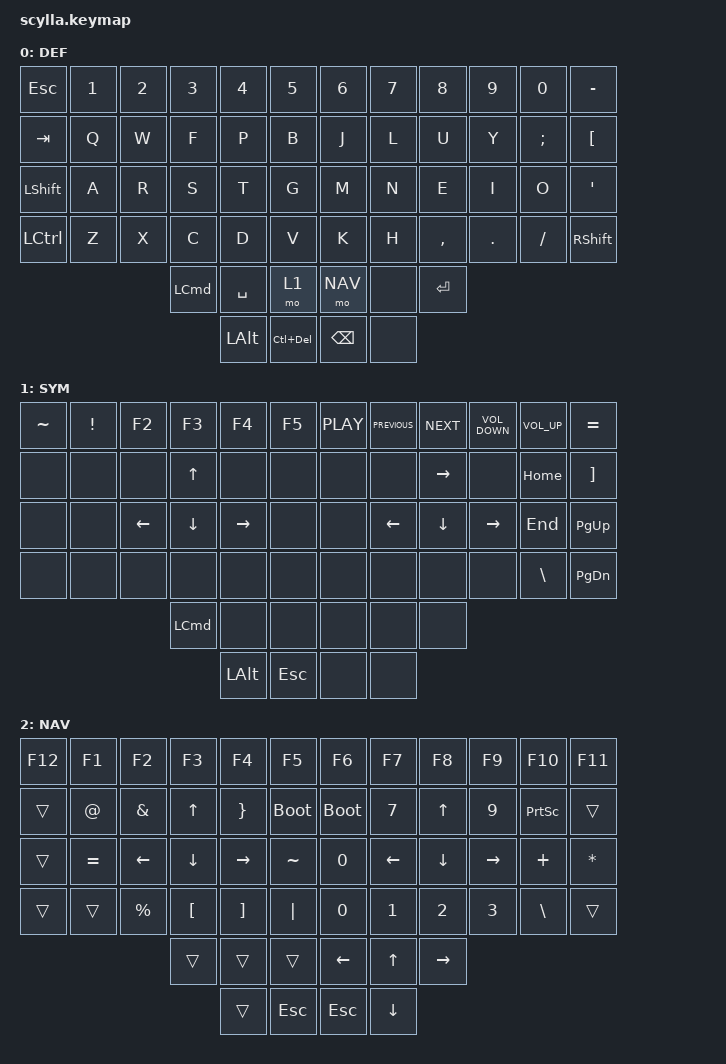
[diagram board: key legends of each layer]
#include <behaviors.dtsi>
#include <dt-bindings/zmk/keys.h>

#define DEF 0
#define SYM 1
#define NAV 2

/ {
    keymap {
        compatible = "zmk,keymap";

        DEF {
            bindings = <
&kp ESCAPE        &kp N1  &kp N2  &kp N3            &kp N4        &kp N5            &kp N6         &kp N7  &kp N8     &kp N9   &kp N0     &kp MINUS
&kp TAB           &kp Q   &kp W   &kp F             &kp P         &kp B             &kp J          &kp L   &kp U      &kp Y    &kp SEMI   &kp LEFT_BRACKET
&kp LEFT_SHIFT    &kp A   &kp R   &kp S             &kp T         &kp G             &kp M          &kp N   &kp E      &kp I    &kp O      &kp SQT
&kp LEFT_CONTROL  &kp Z   &kp X   &kp C             &kp D         &kp V             &kp K          &kp H   &kp COMMA  &kp DOT  &kp SLASH  &kp RSHIFT
                                  &kp LEFT_COMMAND  &kp SPACE     &mo 1             &mo NAV        &none   &kp ENTER
                                                    &kp LEFT_ALT  &kp LC(DELETE)    &kp BACKSPACE  &none
            >;
        };

        SYM {
            bindings = <
&kp TILDE  &kp EXCL  &kp F2          &kp F3            &kp F4           &kp F5     &kp C_PLAY  &kp K_PREVIOUS  &kp K_NEXT       &kp K_VOLUME_DOWN  &kp K_VOLUME_UP  &kp EQUAL
&none      &none     &none           &kp UP_ARROW      &none            &none      &none       &none           &kp RIGHT_ARROW  &none              &kp HOME         &kp RIGHT_BRACKET
&none      &none     &kp LEFT_ARROW  &kp DOWN_ARROW    &kp RIGHT_ARROW  &none      &none       &kp LEFT_ARROW  &kp DOWN_ARROW   &kp RIGHT_ARROW    &kp END          &kp PAGE_UP
&none      &none     &none           &none             &none            &none      &none       &none           &none            &none              &kp BSLH         &kp PAGE_DOWN
                                     &kp LEFT_COMMAND  &none            &none      &none       &none           &none
                                                       &kp LEFT_ALT     &kp ESC    &none       &none
            >;
        };

        NAV {
            bindings = <
&kp F12  &kp F1     &kp F2          &kp F3          &kp F4           &kp F5         &kp F6       &kp F7          &kp F8          &kp F9           &kp F10          &kp F11
&trans   &kp AT     &kp AMPS        &kp UP_ARROW    &kp RBRC         &bootloader    &bootloader  &kp N7          &kp UP_ARROW    &kp N9           &kp PRINTSCREEN  &trans
&trans   &kp EQUAL  &kp LEFT_ARROW  &kp DOWN_ARROW  &kp RIGHT_ARROW  &kp TILDE      &kp N0       &kp LEFT_ARROW  &kp DOWN_ARROW  &kp RIGHT_ARROW  &kp PLUS         &kp STAR
&trans   &trans     &kp PRCNT       &kp LBKT        &kp RBKT         &kp PIPE       &kp N0       &kp N1          &kp N2          &kp N3           &kp BSLH         &trans
                                    &trans          &trans           &trans         &kp LEFT     &kp UP          &kp RIGHT
                                                    &trans           &kp ESC        &kp ESC      &kp DOWN
            >;
        };
    };
};
